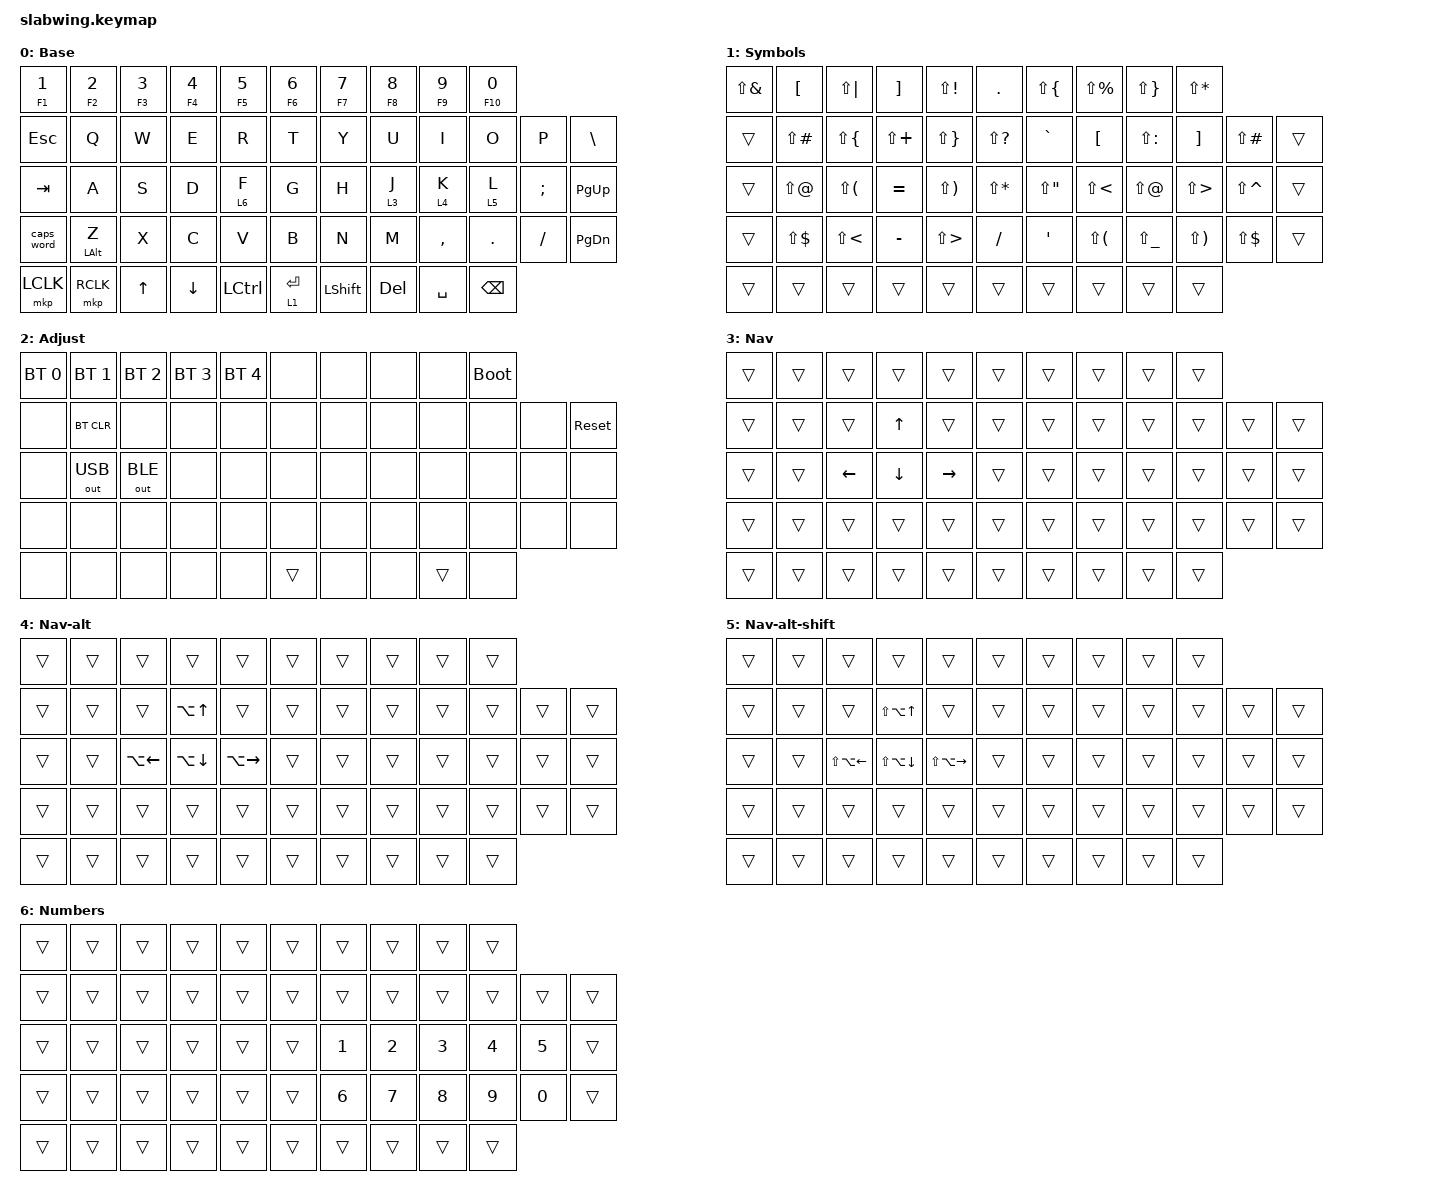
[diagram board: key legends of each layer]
/*
 * Slabwing keymap (QWERTY starter layout - adjust to taste).
 * Key order follows the physical layout (see the matrix transform in slabwing.overlay):
 *
 *          k0   k1   k2   k3   k4          k5   k6   k7   k8   k9
 *     k10  k11  k12  k13  k14  k15         k16  k17  k18  k19  k20  k21
 *     k22  k23  k24  k25  k26  k27         k28  k29  k30  k31  k32  k33
 *     k34  k35  k36  k37  k38  k39         k40  k41  k42  k43  k44  k45
 *               k46  k47                             k48  k49
 *                     k50  k51  k52      k53  k54  k55
 *               (thumbs: outer mid inner | inner mid outer)
 *
 * Layers: BASE, NAV (left mid thumb), SYM (right mid thumb), ADJ (NAV+SYM: Bluetooth, bootloader).
 * The original matrix test keymap is kept in tests/slabwing_matrix_test.keymap.
 */

#include <behaviors.dtsi>
#include <dt-bindings/zmk/bt.h>
#include <dt-bindings/zmk/keys.h>
#include <dt-bindings/zmk/outputs.h>
#include <dt-bindings/zmk/pointing.h>

#define BASE 0
#define NAV  1
#define SYM  2
#define ADJ  3

/ {
    conditional_layers {
        compatible = "zmk,conditional-layers";

        adjust {
            if-layers = <2 2>;
            then-layer = <2>;
        };
    };

    combos {
        compatible = "zmk,combos";

        // safety net: always reachable, even if a layer is broken

        combo_bootloader {
            timeout-ms = <80>;
            key-positions = <1 2 12>;
            bindings = <&bootloader>;
        };

        mouse-mid {
            bindings = <&mkp MCLK>;
            key-positions = <46 47>;
        };

        f12 {
            bindings = <&kp F12>;
            key-positions = <0 1>;
        };

        syslayer {
            bindings = <&mo 2>;
            key-positions = <53 52>;
        };
    };

    keymap {
        compatible = "zmk,keymap";

        base_layer {
            display-name = "Base";
            bindings = <
&mt F1 NUMBER_1  &mt F2 NUMBER_2  &mt F3 NUMBER_3  &mt F4 NUMBER_4  &mt F5 N5  &mt F6 NUMBER_6  &mt F7 N7       &mt F8 N8   &mt F9 N9  &mt F10 N0
&kp ESCAPE       &kp Q            &kp W            &kp E            &kp R      &kp T            &kp Y           &kp U       &kp I      &kp O       &kp P     &kp BACKSLASH
&kp TAB          &kp A            &kp S            &kp D            &lt 6 F    &kp G            &kp H           &lt 3 J     &lt 4 K    &lt 5 L     &kp SEMI  &kp PAGE_UP
&caps_word       &mt LEFT_ALT Z   &kp X            &kp C            &kp V      &kp B            &kp N           &kp M       &kp COMMA  &kp DOT     &kp FSLH  &kp PAGE_DOWN
&mkp LCLK        &mkp RCLK        &kp UP_ARROW     &kp DOWN_ARROW   &kp LCTRL  &lt 1 ENTER      &kp LEFT_SHIFT  &kp DELETE  &kp SPACE  &kp BSPC
            >;
        };

        symbols {
            display-name = "Symbols";
            bindings = <
&kp LS(AMPS)  &kp LBKT       &kp LS(PIPE)  &kp RBKT      &kp LS(EXCL)  &kp DOT        &kp LS(LBRC)  &kp LS(PRCNT)  &kp LS(RBRC)   &kp LS(STAR)
&trans        &kp LS(POUND)  &kp LS(LBRC)  &kp LS(PLUS)  &kp LS(RBRC)  &kp LS(QMARK)  &kp GRAVE     &kp LBKT       &kp LS(COLON)  &kp RBKT      &kp LS(POUND)  &trans
&trans        &kp LS(AT)     &kp LS(LPAR)  &kp EQUAL     &kp LS(RPAR)  &kp LS(STAR)   &kp LS(DQT)   &kp LS(LT)     &kp LS(AT)     &kp LS(GT)    &kp LS(CARET)  &trans
&trans        &kp LS(DLLR)   &kp LS(LT)    &kp MINUS     &kp LS(GT)    &kp FSLH       &kp SQT       &kp LS(LPAR)   &kp LS(UNDER)  &kp LS(RPAR)  &kp LS(DLLR)   &trans
&trans        &trans         &trans        &trans        &trans        &trans         &trans        &trans         &trans         &trans
            >;
        };

        adjust_layer {
            display-name = "Adjust";
            bindings = <
&bt BT_SEL 0  &bt BT_SEL 1  &bt BT_SEL 2  &bt BT_SEL 3  &bt BT_SEL 4  &none   &none  &none  &none   &bootloader
&none         &bt BT_CLR    &none         &none         &none         &none   &none  &none  &none   &none        &none  &sys_reset
&none         &out OUT_USB  &out OUT_BLE  &none         &none         &none   &none  &none  &none   &none        &none  &none
&none         &none         &none         &none         &none         &none   &none  &none  &none   &none        &none  &none
&none         &none         &none         &none         &none         &trans  &none  &none  &trans  &none
            >;
        };

        nav {
            display-name = "Nav";
            bindings = <
&trans  &trans  &trans          &trans          &trans           &trans  &trans  &trans  &trans  &trans
&trans  &trans  &trans          &kp UP_ARROW    &trans           &trans  &trans  &trans  &trans  &trans  &trans  &trans
&trans  &trans  &kp LEFT_ARROW  &kp DOWN_ARROW  &kp RIGHT_ARROW  &trans  &trans  &trans  &trans  &trans  &trans  &trans
&trans  &trans  &trans          &trans          &trans           &trans  &trans  &trans  &trans  &trans  &trans  &trans
&trans  &trans  &trans          &trans          &trans           &trans  &trans  &trans  &trans  &trans
            >;
        };

        nav-alt {
            display-name = "Nav-alt";
            bindings = <
&trans  &trans  &trans              &trans              &trans               &trans  &trans  &trans  &trans  &trans
&trans  &trans  &trans              &kp LA(UP_ARROW)    &trans               &trans  &trans  &trans  &trans  &trans  &trans  &trans
&trans  &trans  &kp LA(LEFT_ARROW)  &kp LA(DOWN_ARROW)  &kp LA(RIGHT_ARROW)  &trans  &trans  &trans  &trans  &trans  &trans  &trans
&trans  &trans  &trans              &trans              &trans               &trans  &trans  &trans  &trans  &trans  &trans  &trans
&trans  &trans  &trans              &trans              &trans               &trans  &trans  &trans  &trans  &trans
            >;
        };

        nav-alt-shift {
            display-name = "Nav-alt-shift";
            bindings = <
&trans  &trans  &trans                  &trans                  &trans                   &trans  &trans  &trans  &trans  &trans
&trans  &trans  &trans                  &kp LS(LA(UP_ARROW))    &trans                   &trans  &trans  &trans  &trans  &trans  &trans  &trans
&trans  &trans  &kp LS(LA(LEFT_ARROW))  &kp LS(LA(DOWN_ARROW))  &kp LS(LA(RIGHT_ARROW))  &trans  &trans  &trans  &trans  &trans  &trans  &trans
&trans  &trans  &trans                  &trans                  &trans                   &trans  &trans  &trans  &trans  &trans  &trans  &trans
&trans  &trans  &trans                  &trans                  &trans                   &trans  &trans  &trans  &trans  &trans
            >;
        };

        numbers {
            display-name = "Numbers";
            bindings = <
&trans  &trans  &trans  &trans  &trans  &trans  &trans        &trans        &trans        &trans
&trans  &trans  &trans  &trans  &trans  &trans  &trans        &trans        &trans        &trans        &trans  &trans
&trans  &trans  &trans  &trans  &trans  &trans  &kp NUMBER_1  &kp NUMBER_2  &kp NUMBER_3  &kp NUMBER_4  &kp N5  &trans
&trans  &trans  &trans  &trans  &trans  &trans  &kp NUMBER_6  &kp N7        &kp N8        &kp N9        &kp N0  &trans
&trans  &trans  &trans  &trans  &trans  &trans  &trans        &trans        &trans        &trans
            >;
        };
    };
};
